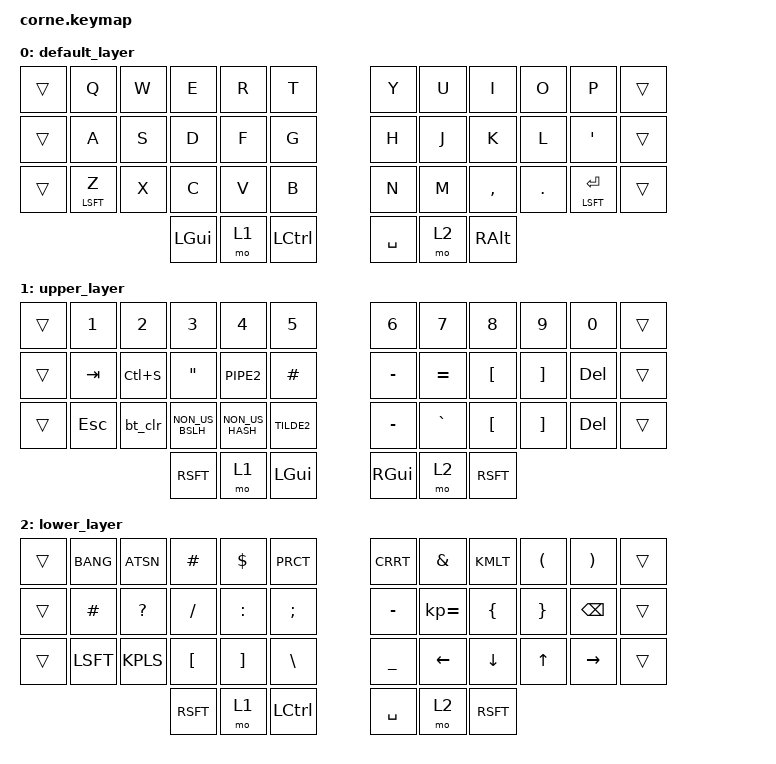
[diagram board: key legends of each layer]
#include <behaviors.dtsi>
#include <dt-bindings/zmk/keys.h>
#include <dt-bindings/zmk/bt.h>

&mt {
    tapping_term_ms = <200>;
};

 / {
    behaviors {
        bt_clr: bt_clr {
            compatible = "zmk,behavior-momentary";
            label = "BT_CLR";
            #binding-cells = <0>;
            bindings = <&bt BT_CLR>;
        };
    };

    keymap {
        compatible = "zmk,keymap";

        default_layer {
            bindings = <
                &trans       &kp Q        &kp W        &kp E        &kp R        &kp T                      &kp Y        &kp U        &kp I        &kp O        &kp P        &trans
                &trans       &kp A        &kp S        &kp D        &kp F        &kp G                      &kp H        &kp J        &kp K        &kp L        &kp QUOT     &trans
                &trans       &mt LSFT Z   &kp X        &kp C        &kp V        &kp B                      &kp N        &kp M        &kp CMMA     &kp DOT      &mt LSFT RET &trans
                &kp LGUI     &mo 1        &kp LCTL                            &kp SPC     &mo 2        &kp RALT
            >;
        };

        upper_layer {
            bindings = <
                &trans       &kp NUM_1    &kp NUM_2    &kp NUM_3    &kp NUM_4    &kp NUM_5                  &kp NUM_6    &kp NUM_7    &kp NUM_8    &kp NUM_9    &kp NUM_0    &trans
                &trans       &kp TAB      &kp LC(S)    &kp DQT      &kp PIPE2    &kp HASH                   &kp MINUS    &kp EQL      &kp LBKT     &kp RBKT     &kp DEL      &trans
                &trans       &kp ESC      &bt_clr      &kp NON_US_BSLH &kp NON_US_HASH &kp TILDE2           &kp MINUS    &kp GRAVE    &kp LBKT     &kp RBKT     &kp DEL      &trans
                               &kp RSFT   &mo 1        &kp LGUI                            &kp RGUI    &mo 2        &kp RSFT
            >;
        };

        lower_layer {
            bindings = <
                &trans       &kp BANG     &kp ATSN     &kp HASH     &kp DLLR     &kp PRCT                   &kp CRRT     &kp AMPS     &kp KMLT     &kp LPRN     &kp RPRN     &trans
                &trans       &kp HASH     &kp QMARK    &kp FSLH     &kp COLN     &kp SCLN                   &kp MINUS    &kp KP_EQUAL &kp LBRC     &kp RBRC     &kp BKSP     &trans
                &trans       &kp LSFT     &kp KPLS     &kp LBKT     &kp RBKT     &kp BSLH                   &kp UNDER    &kp LEFT     &kp DOWN     &kp UP       &kp RIGHT    &trans
                               &kp RSFT   &mo 1        &kp LCTL                            &kp SPC     &mo 2        &kp RSFT
            >;
        };
    };
};

